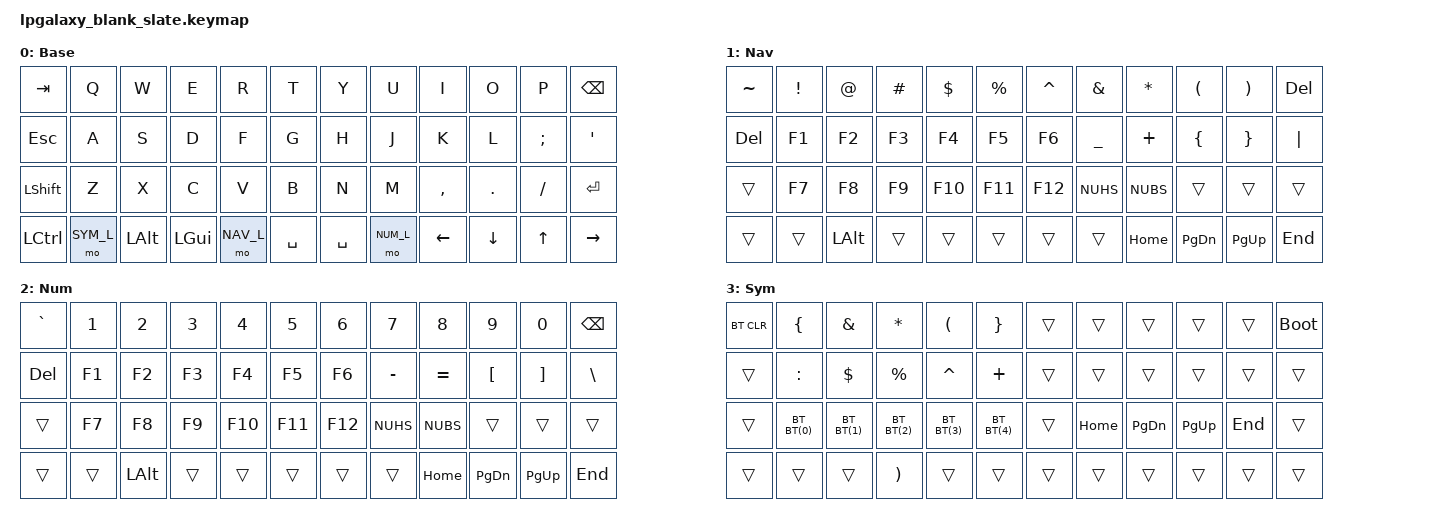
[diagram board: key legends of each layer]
/*
 * Copyright (c) 2022 Pete Johanson
 *
 * SPDX-License-Identifier: MIT
 */

#include <behaviors.dtsi>
#include <dt-bindings/zmk/keys.h>
#include <dt-bindings/zmk/bt.h>
#include <dt-bindings/zmk/outputs.h>

#define NAV_L 1
#define NUM_L 2
#define SYM_L 3

// Using layer taps on thumbs, having quick tap as well helps w/ repeating space/backspace
&lt { quick_tap_ms = <200>; };

#define BT(n) BT_SEL n

/ {
    chosen {
       zmk,physical-layout =
                       &layout_ortho_4x12_all1u;
    };

    macros {
      ZMK_MACRO(thumbs_up,
		wait-ms = <1>;
		tap-ms = <5>;
                bindings = <&kp PLUS &kp COLON &kp PLUS &kp N1 &kp COLON &kp RET>;
		)
    };
    
    tap_dances {
    	shifty: shift_caps_word {
		compatible = "zmk,behavior-tap-dance";
		label = "TD_SHIFTY";
		#binding-cells = <0>;
		tapping-term-ms = <150>;
		bindings = <&kp LSHFT>, <&caps_word>;
	};
    };

    keymap {
        compatible = "zmk,keymap";

        base_layer {
            label = "Base";
            bindings = <
 &kp TAB    &kp Q      &kp W      &kp E       &kp R          &kp T          &kp Y            &kp U          &kp I       &kp O      &kp P         &kp BKSP
 &kp ESC    &kp A      &kp S      &kp D       &kp F          &kp G          &kp H            &kp J          &kp K       &kp L      &kp SEMI      &kp QUOT
 &kp LSHFT  &kp Z      &kp X      &kp C       &kp V          &kp B          &kp N            &kp M          &kp COMMA   &kp DOT    &kp FSLH      &kp RET
 &kp LCTRL  &mo SYM_L   &kp LALT  &kp LGUI    &mo NAV_L      &kp SPACE      &kp SPACE        &mo NUM_L      &kp LEFT    &kp DOWN   &kp UP        &kp RIGHT
            >;
        };

        nav_layer {
            label = "Nav";
            bindings = <
&kp TILDE  &kp EXCL    &kp AT     &kp HASH    &kp DLLR       &kp PRCNT      &kp CARET        &kp AMPS       &kp STAR    &kp LPAR   &kp RPAR      &kp DEL
&kp DEL    &kp F1      &kp F2     &kp F3      &kp F4         &kp F5         &kp F6           &kp UNDER      &kp PLUS    &kp LBRC   &kp RBRC      &kp PIPE
&trans     &kp F7      &kp F8     &kp F9      &kp F10        &kp F11        &kp F12          &kp NUHS       &kp NUBS    &trans     &trans        &trans
&trans     &trans      &kp LALT   &trans      &trans         &trans         &trans           &trans         &kp HOME    &kp PG_DN  &kp PG_UP     &kp END
            >;
        };

        num_layer {
            label = "Num";
            bindings = <
&kp GRAVE  &kp N1      &kp N2     &kp N3      &kp N4         &kp N5         &kp N6           &kp N7         &kp N8      &kp N9     &kp N0        &kp BKSP
&kp DEL    &kp F1      &kp F2     &kp F3      &kp F4         &kp F5         &kp F6           &kp MINUS      &kp EQUAL   &kp LBKT   &kp RBKT      &kp BSLH
&trans     &kp F7      &kp F8     &kp F9      &kp F10        &kp F11        &kp F12          &kp NUHS       &kp NUBS    &trans     &trans        &trans
&trans     &trans      &kp LALT   &trans      &trans         &trans         &trans           &trans         &kp HOME    &kp PG_DN  &kp PG_UP     &kp END
            >;
        };

        sym_layer {
            label = "Sym";
            bindings = <
&bt BT_CLR  &kp LBRC   &kp AMPS   &kp STAR    &kp LPAR     &kp RBRC     &trans     &trans    &trans      &trans       &trans     &bootloader
&trans      &kp COLON  &kp DLLR   &kp PRCNT   &kp CARET    &kp PLUS     &trans     &trans    &trans      &trans       &trans     &trans
&trans      &bt BT(0)  &bt BT(1)  &bt BT(2)   &bt BT(3)    &bt BT(4)    &trans     &kp HOME  &kp PG_DN   &kp PG_UP    &kp END    &trans
&trans      &trans     &trans     &kp RPAR    &trans       &trans       &trans     &trans    &trans      &trans       &trans     &trans
            >;
        };


    };
};

